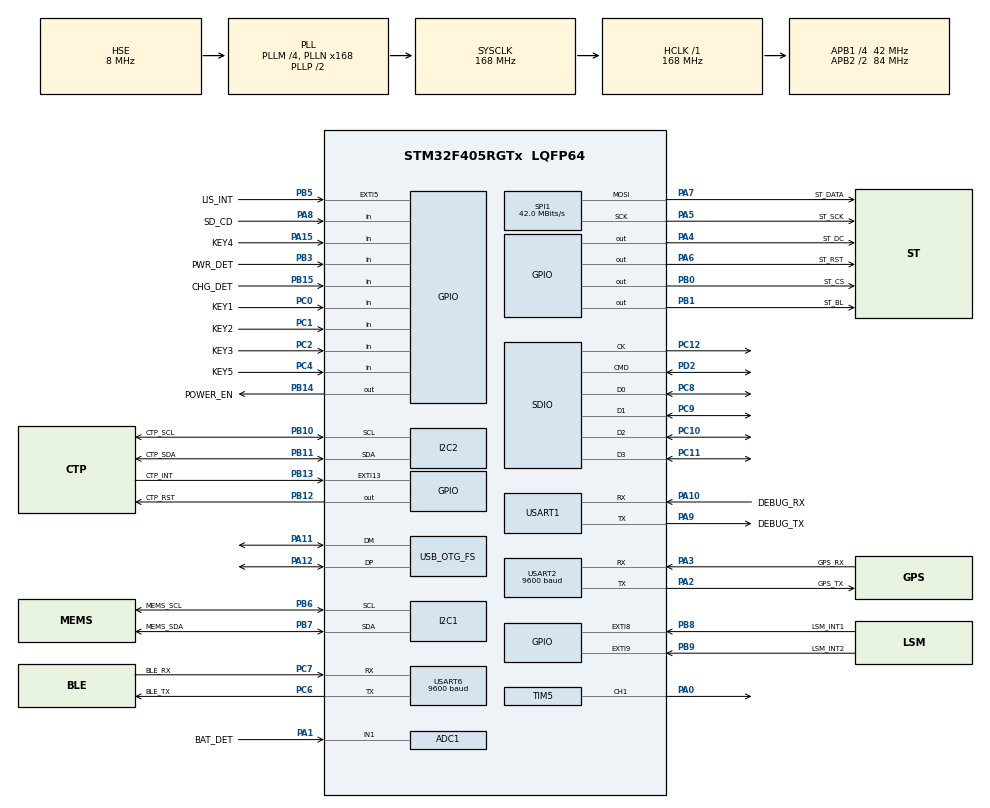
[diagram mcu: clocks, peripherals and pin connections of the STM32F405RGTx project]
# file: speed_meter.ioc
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ADC1.Channel-0\#ChannelRegularConversion=ADC_CHANNEL_1
ADC1.ClockPrescaler=ADC_CLOCK_SYNC_PCLK_DIV4
ADC1.ContinuousConvMode=ENABLE
ADC1.DMAContinuousRequests=DISABLE
ADC1.EnableAnalogWatchDog=true
ADC1.InjNumberOfConversion=0
ADC1.NbrOfConversion=1
ADC1.NbrOfConversionFlag=1
ADC1.Rank-0\#ChannelRegularConversion=1
ADC1.SamplingTime-0\#ChannelRegularConversion=ADC_SAMPLETIME_3CYCLES
ADC1.WatchdogChannel=ADC_CHANNEL_1
ADC1.master=1
Dma.I2C1_RX.0.Direction=DMA_PERIPH_TO_MEMORY
Dma.I2C1_RX.0.FIFOMode=DMA_FIFOMODE_DISABLE
Dma.I2C1_RX.0.Instance=DMA1_Stream0
Dma.I2C1_RX.0.MemDataAlignment=DMA_MDATAALIGN_BYTE
Dma.I2C1_RX.0.MemInc=DMA_MINC_ENABLE
Dma.I2C1_RX.0.Mode=DMA_NORMAL
Dma.I2C1_RX.0.PeriphDataAlignment=DMA_PDATAALIGN_BYTE
Dma.I2C1_RX.0.PeriphInc=DMA_PINC_DISABLE
Dma.I2C1_RX.0.Priority=DMA_PRIORITY_LOW
Dma.I2C2_RX.1.Direction=DMA_PERIPH_TO_MEMORY
Dma.I2C2_RX.1.FIFOMode=DMA_FIFOMODE_DISABLE
Dma.I2C2_RX.1.Instance=DMA1_Stream2
Dma.I2C2_RX.1.MemDataAlignment=DMA_MDATAALIGN_BYTE
Dma.I2C2_RX.1.MemInc=DMA_MINC_ENABLE
Dma.I2C2_RX.1.Mode=DMA_NORMAL
Dma.I2C2_RX.1.PeriphDataAlignment=DMA_PDATAALIGN_BYTE
Dma.I2C2_RX.1.PeriphInc=DMA_PINC_DISABLE
Dma.I2C2_RX.1.Priority=DMA_PRIORITY_LOW
Dma.Request0=I2C1_RX
Dma.Request1=I2C2_RX
Dma.Request2=SPI1_TX
Dma.Request3=USART2_RX
Dma.Request4=USART6_RX
Dma.Request5=USART6_TX
Dma.Request6=SDIO
Dma.Request7=USART1_TX
Dma.SDIO.6.Direction=DMA_PERIPH_TO_MEMORY
Dma.SDIO.6.FIFOMode=DMA_FIFOMODE_ENABLE
Dma.SDIO.6.FIFOThreshold=DMA_FIFO_THRESHOLD_FULL
Dma.SDIO.6.Instance=DMA2_Stream3
Dma.SDIO.6.MemBurst=DMA_MBURST_INC4
Dma.SDIO.6.MemDataAlignment=DMA_MDATAALIGN_WORD
Dma.SDIO.6.MemInc=DMA_MINC_ENABLE
Dma.SDIO.6.Mode=DMA_PFCTRL
Dma.SDIO.6.PeriphBurst=DMA_PBURST_INC4
Dma.SDIO.6.PeriphDataAlignment=DMA_PDATAALIGN_WORD
Dma.SDIO.6.PeriphInc=DMA_PINC_DISABLE
Dma.SDIO.6.Priority=DMA_PRIORITY_LOW
Dma.SPI1_TX.2.Direction=DMA_MEMORY_TO_PERIPH
Dma.SPI1_TX.2.FIFOMode=DMA_FIFOMODE_DISABLE
Dma.SPI1_TX.2.Instance=DMA2_Stream5
Dma.SPI1_TX.2.MemDataAlignment=DMA_MDATAALIGN_HALFWORD
Dma.SPI1_TX.2.MemInc=DMA_MINC_ENABLE
Dma.SPI1_TX.2.Mode=DMA_NORMAL
Dma.SPI1_TX.2.PeriphDataAlignment=DMA_PDATAALIGN_HALFWORD
Dma.SPI1_TX.2.PeriphInc=DMA_PINC_DISABLE
Dma.SPI1_TX.2.Priority=DMA_PRIORITY_LOW
Dma.USART1_TX.7.Direction=DMA_MEMORY_TO_PERIPH
Dma.USART1_TX.7.FIFOMode=DMA_FIFOMODE_DISABLE
Dma.USART1_TX.7.Instance=DMA2_Stream7
Dma.USART1_TX.7.MemDataAlignment=DMA_MDATAALIGN_BYTE
Dma.USART1_TX.7.MemInc=DMA_MINC_ENABLE
Dma.USART1_TX.7.Mode=DMA_NORMAL
Dma.USART1_TX.7.PeriphDataAlignment=DMA_PDATAALIGN_BYTE
Dma.USART1_TX.7.PeriphInc=DMA_PINC_DISABLE
Dma.USART1_TX.7.Priority=DMA_PRIORITY_LOW
Dma.USART2_RX.3.Direction=DMA_PERIPH_TO_MEMORY
Dma.USART2_RX.3.FIFOMode=DMA_FIFOMODE_DISABLE
Dma.USART2_RX.3.Instance=DMA1_Stream5
Dma.USART2_RX.3.MemDataAlignment=DMA_MDATAALIGN_BYTE
Dma.USART2_RX.3.MemInc=DMA_MINC_ENABLE
Dma.USART2_RX.3.Mode=DMA_CIRCULAR
Dma.USART2_RX.3.PeriphDataAlignment=DMA_PDATAALIGN_BYTE
Dma.USART2_RX.3.PeriphInc=DMA_PINC_DISABLE
Dma.USART2_RX.3.Priority=DMA_PRIORITY_LOW
Dma.USART6_RX.4.Direction=DMA_PERIPH_TO_MEMORY
Dma.USART6_RX.4.FIFOMode=DMA_FIFOMODE_DISABLE
Dma.USART6_RX.4.Instance=DMA2_Stream1
Dma.USART6_RX.4.MemDataAlignment=DMA_MDATAALIGN_BYTE
Dma.USART6_RX.4.MemInc=DMA_MINC_ENABLE
Dma.USART6_RX.4.Mode=DMA_NORMAL
Dma.USART6_RX.4.PeriphDataAlignment=DMA_PDATAALIGN_BYTE
Dma.USART6_RX.4.PeriphInc=DMA_PINC_DISABLE
Dma.USART6_RX.4.Priority=DMA_PRIORITY_LOW
Dma.USART6_TX.5.Direction=DMA_MEMORY_TO_PERIPH
Dma.USART6_TX.5.FIFOMode=DMA_FIFOMODE_DISABLE
Dma.USART6_TX.5.Instance=DMA2_Stream6
Dma.USART6_TX.5.MemDataAlignment=DMA_MDATAALIGN_BYTE
Dma.USART6_TX.5.MemInc=DMA_MINC_ENABLE
Dma.USART6_TX.5.Mode=DMA_NORMAL
Dma.USART6_TX.5.PeriphDataAlignment=DMA_PDATAALIGN_BYTE
Dma.USART6_TX.5.PeriphInc=DMA_PINC_DISABLE
Dma.USART6_TX.5.Priority=DMA_PRIORITY_LOW
FATFS.BSP.number=1
FATFS0.BSP.STBoard=false
FATFS0.BSP.api=Unknown
FATFS0.BSP.instance=PA8
FATFS0.BSP.ip=GPIO
FATFS0.BSP.mode=Input
FATFS0.BSP.name=Detect_SDIO
FATFS0.BSP.solution=PA8
FREERTOS.Tasks01=main_task,24,2048,main_task_func,Default,NULL,Dynamic,NULL,NULL;key_task,8,128,key_task_func,As external,NULL,Dynamic,NULL,NULL;pwr_off,8,128,power_task_func,As external,NULL,Dynamic,NULL,NULL;gps_task,8,128,gps_task_func,As external,NULL,Dynamic,NULL,NULL
FREERTOS.configTOTAL_HEAP_SIZE=40960
Mcu.Family=STM32F4
Mcu.Name=STM32F405RGTx
Mcu.Package=LQFP64
NVIC.DMA1_Stream0_IRQn=true\:5\:0\:false\:false\:true\:true\:false\:true\:true
NVIC.DMA1_Stream2_IRQn=true\:5\:0\:false\:false\:true\:true\:false\:true\:true
NVIC.DMA1_Stream5_IRQn=true\:5\:0\:false\:false\:true\:true\:false\:true\:true
NVIC.DMA2_Stream1_IRQn=true\:5\:0\:false\:false\:true\:true\:false\:true\:true
NVIC.DMA2_Stream3_IRQn=true\:5\:0\:false\:false\:true\:true\:false\:true\:true
NVIC.DMA2_Stream5_IRQn=true\:5\:0\:false\:false\:true\:true\:false\:true\:true
NVIC.DMA2_Stream6_IRQn=true\:5\:0\:false\:false\:true\:false\:false\:true\:true
NVIC.DMA2_Stream7_IRQn=true\:5\:0\:false\:false\:true\:true\:false\:true\:true
NVIC.EXTI15_10_IRQn=true\:5\:0\:false\:false\:true\:true\:true\:true\:true
NVIC.I2C1_ER_IRQn=true\:5\:0\:false\:false\:true\:true\:true\:true\:true
NVIC.I2C1_EV_IRQn=true\:5\:0\:false\:false\:true\:true\:true\:true\:true
NVIC.I2C2_ER_IRQn=true\:5\:0\:false\:false\:true\:true\:true\:true\:true
NVIC.I2C2_EV_IRQn=true\:5\:0\:false\:false\:true\:true\:true\:true\:true
NVIC.OTG_FS_IRQn=true\:5\:0\:false\:false\:true\:true\:true\:true\:true
NVIC.PriorityGroup=NVIC_PRIORITYGROUP_4
NVIC.SDIO_IRQn=true\:5\:0\:false\:false\:true\:true\:true\:true\:true
NVIC.SPI1_IRQn=true\:5\:0\:false\:false\:true\:true\:true\:true\:true
NVIC.TIM1_UP_TIM10_IRQn=true\:15\:0\:false\:false\:true\:false\:true\:true\:true
NVIC.TIM2_IRQn=true\:5\:0\:false\:false\:true\:true\:true\:true\:true
NVIC.TimeBase=TIM1_UP_TIM10_IRQn
NVIC.TimeBaseIP=TIM1
NVIC.USART1_IRQn=true\:5\:0\:false\:false\:true\:true\:true\:true\:true
NVIC.USART2_IRQn=true\:5\:0\:true\:false\:true\:true\:true\:true\:true
NVIC.USART6_IRQn=true\:5\:0\:false\:false\:true\:true\:true\:true\:true
PA0-WKUP.Signal=S_TIM5_CH1
PA1.GPIO_Label=BAT_DET
PA1.Signal=ADCx_IN1
PA10.GPIO_Label=DEBUG_RX
PA10.Mode=Asynchronous
PA10.Signal=USART1_RX
PA11.Mode=Device_Only
PA11.Signal=USB_OTG_FS_DM
PA12.Mode=Device_Only
PA12.Signal=USB_OTG_FS_DP
PA13.Mode=Serial_Wire
PA13.Signal=SYS_JTMS-SWDIO
PA14.Mode=Serial_Wire
PA14.Signal=SYS_JTCK-SWCLK
PA15.GPIO_Label=KEY4
PA15.GPIO_PuPd=GPIO_PULLUP
PA15.Signal=GPIO_Input
PA2.GPIO_Label=GPS_TX
PA2.Mode=Asynchronous
PA2.Signal=USART2_TX
PA3.GPIO_Label=GPS_RX
PA3.Mode=Asynchronous
PA3.Signal=USART2_RX
PA4.GPIO_Label=ST_DC
PA4.GPIO_Speed=GPIO_SPEED_FREQ_MEDIUM
PA4.Signal=GPIO_Output
PA5.GPIO_Label=ST_SCK
PA5.Mode=TX_Only_Simplex_Unidirect_Master
PA5.Signal=SPI1_SCK
PA6.GPIO_Label=ST_RST
PA6.GPIO_Speed=GPIO_SPEED_FREQ_MEDIUM
PA6.PinState=GPIO_PIN_SET
PA6.Signal=GPIO_Output
PA7.GPIO_Label=ST_DATA
PA7.Mode=TX_Only_Simplex_Unidirect_Master
PA7.Signal=SPI1_MOSI
PA8.GPIO_Label=SD_CD
PA8.GPIO_PuPd=GPIO_PULLUP
PA8.Signal=GPIO_Input
PA9.GPIO_Label=DEBUG_TX
PA9.Mode=Asynchronous
PA9.Signal=USART1_TX
PB0.GPIO_Label=ST_CS
PB0.GPIO_Speed=GPIO_SPEED_FREQ_MEDIUM
PB0.PinState=GPIO_PIN_SET
PB0.Signal=GPIO_Output
PB1.GPIO_Label=ST_BL
PB1.GPIO_Speed=GPIO_SPEED_FREQ_MEDIUM
PB1.Signal=GPIO_Output
PB10.GPIO_Label=CTP_SCL
PB10.Mode=I2C
PB10.Signal=I2C2_SCL
PB11.GPIO_Label=CTP_SDA
PB11.Mode=I2C
PB11.Signal=I2C2_SDA
PB12.GPIO_Label=CTP_RST
PB12.PinState=GPIO_PIN_SET
PB12.Signal=GPIO_Output
PB13.GPIO_Label=CTP_INT
PB13.GPIO_ModeDefaultEXTI=GPIO_MODE_IT_FALLING
PB13.GPIO_PuPd=GPIO_PULLUP
PB13.Signal=GPXTI13
PB14.GPIO_Label=POWER_EN
PB14.GPIO_Speed=GPIO_SPEED_FREQ_MEDIUM
PB14.PinState=GPIO_PIN_SET
PB14.Signal=GPIO_Output
PB15.GPIO_Label=CHG_DET
PB15.GPIO_PuPd=GPIO_PULLUP
PB15.Signal=GPIO_Input
PB3.GPIO_Label=PWR_DET
PB3.GPIO_PuPd=GPIO_PULLUP
PB3.Signal=GPIO_Input
PB5.GPIO_Label=LIS_INT
PB5.Signal=GPXTI5
PB6.GPIO_Label=MEMS_SCL
PB6.Mode=I2C
PB6.Signal=I2C1_SCL
PB7.GPIO_Label=MEMS_SDA
PB7.Mode=I2C
PB7.Signal=I2C1_SDA
PB8.GPIO_Label=LSM_INT1
PB8.Signal=GPXTI8
PB9.GPIO_Label=LSM_INT2
PB9.Signal=GPXTI9
PC0.GPIO_Label=KEY1
PC0.GPIO_PuPd=GPIO_PULLUP
PC0.Signal=GPIO_Input
PC1.GPIO_Label=KEY2
PC1.GPIO_PuPd=GPIO_PULLUP
PC1.Signal=GPIO_Input
PC10.Mode=SD_4_bits_Wide_bus
PC10.Signal=SDIO_D2
PC11.Mode=SD_4_bits_Wide_bus
PC11.Signal=SDIO_D3
PC12.Mode=SD_4_bits_Wide_bus
PC12.Signal=SDIO_CK
PC14-OSC32_IN.Mode=LSE-External-Oscillator
PC14-OSC32_IN.Signal=RCC_OSC32_IN
PC15-OSC32_OUT.Mode=LSE-External-Oscillator
PC15-OSC32_OUT.Signal=RCC_OSC32_OUT
PC2.GPIO_Label=KEY3
PC2.GPIO_PuPd=GPIO_PULLUP
PC2.Signal=GPIO_Input
PC4.GPIO_Label=KEY5
PC4.GPIO_PuPd=GPIO_PULLUP
PC4.Signal=GPIO_Input
PC6.GPIO_Label=BLE_TX
PC6.Mode=Asynchronous
PC6.Signal=USART6_TX
PC7.GPIO_Label=BLE_RX
PC7.Mode=Asynchronous
PC7.Signal=USART6_RX
PC8.Mode=SD_4_bits_Wide_bus
PC8.Signal=SDIO_D0
PC9.Mode=SD_4_bits_Wide_bus
PC9.Signal=SDIO_D1
PD2.Mode=SD_4_bits_Wide_bus
PD2.Signal=SDIO_CMD
PH0-OSC_IN.Mode=HSE-External-Oscillator
PH0-OSC_IN.Signal=RCC_OSC_IN
PH1-OSC_OUT.Mode=HSE-External-Oscillator
PH1-OSC_OUT.Signal=RCC_OSC_OUT
ProjectManager.HeapSize=0x4000
ProjectManager.StackSize=0x2000
ProjectManager.TargetToolchain=MDK-ARM V5.32
RCC.48MHZClocksFreq_Value=48000000
RCC.AHBFreq_Value=168000000
RCC.APB1CLKDivider=RCC_HCLK_DIV4
RCC.APB1Freq_Value=42000000
RCC.APB1TimFreq_Value=84000000
RCC.APB2CLKDivider=RCC_HCLK_DIV2
RCC.APB2Freq_Value=84000000
RCC.APB2TimFreq_Value=168000000
RCC.CortexFreq_Value=168000000
RCC.HCLKFreq_Value=168000000
RCC.HSE_VALUE=8000000
RCC.HSI_VALUE=16000000
RCC.PLLM=4
RCC.PLLN=168
RCC.PLLQ=7
RCC.RCC_RTC_Clock_Source=RCC_RTCCLKSOURCE_LSE
RCC.RCC_RTC_Clock_SourceVirtual=RCC_RTCCLKSOURCE_LSE
RCC.SYSCLKFreq_VALUE=168000000
RCC.SYSCLKSource=RCC_SYSCLKSOURCE_PLLCLK
RCC.VCOOutputFreq_Value=336000000
SDIO.ClockDiv=6
SH.ADCx_IN1.0=ADC1_IN1,IN1
SH.S_TIM5_CH1.0=TIM5_CH1,PWM Generation1 CH1
SPI1.BaudRatePrescaler=SPI_BAUDRATEPRESCALER_2
SPI1.CalculateBaudRate=42.0 MBits/s
SPI1.Direction=SPI_DIRECTION_2LINES
SPI1.Mode=SPI_MODE_MASTER
SPI1.VirtualType=VM_MASTER
TIM2.AutoReloadPreload=TIM_AUTORELOAD_PRELOAD_DISABLE
TIM2.Period=500
TIM2.Prescaler=42000 -1
TIM5.AutoReloadPreload=TIM_AUTORELOAD_PRELOAD_ENABLE
TIM5.Channel-PWM\ Generation1\ CH1=TIM_CHANNEL_1
TIM5.Period=500
TIM5.Prescaler=84-1
USART1.VirtualMode=VM_ASYNC
USART2.BaudRate=9600
USART2.VirtualMode=VM_ASYNC
USART6.BaudRate=9600
USART6.VirtualMode=VM_ASYNC
USB_DEVICE.CLASS_NAME_FS=MSC
USB_DEVICE.MANUFACTURER_STRING-MSC_FS=Atguigu
USB_DEVICE.PRODUCT_STRING_MSC_FS=Speed Meter Mass Storage
USB_DEVICE.VirtualMode-MSC_FS=Msc
USB_DEVICE.VirtualModeFS=Msc_FS
USB_OTG_FS.VirtualMode=Device_Only
VP_FATFS_VS_SDIO.Mode=SDIO
VP_FREERTOS_VS_CMSIS_V2.Mode=CMSIS_V2
VP_SYS_VS_tim1.Mode=TIM1
VP_TIM2_VS_ClockSourceINT.Mode=Internal
VP_TIM5_VS_ClockSourceINT.Mode=Internal
VP_USB_DEVICE_VS_USB_DEVICE_MSC_FS.Mode=MSC_FS
board=custom

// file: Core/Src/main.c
/* USER CODE BEGIN Header */
/**
  ******************************************************************************
  * @file           : main.c
  * @brief          : Main program body
  ******************************************************************************
  * @attention
  *
  * Copyright (c) 2026 STMicroelectronics.
  * All rights reserved.
  *
  * This software is licensed under terms that can be found in the LICENSE file
  * in the root directory of this software component.
  * If no LICENSE file comes with this software, it is provided AS-IS.
  *
  ******************************************************************************
  */
/* USER CODE END Header */
#include "main.h"
#include "cmsis_os.h"
#include "adc.h"
#include "dma.h"
#include "fatfs.h"
#include "i2c.h"
#include "sdio.h"
#include "spi.h"
#include "tim.h"
#include "usart.h"
#include "usb_device.h"
#include "gpio.h"

void SystemClock_Config(void);
void MX_FREERTOS_Init(void);

int main(void)
{

  /* MCU Configuration--------------------------------------------------------*/

  /* Reset of all peripherals, Initializes the Flash interface and the Systick. */
  HAL_Init();

  /* Configure the system clock */
  SystemClock_Config();

  /* Initialize all configured peripherals */
  MX_GPIO_Init();
  MX_DMA_Init();
  MX_USART1_UART_Init();
  MX_ADC1_Init();
  MX_I2C1_Init();
  MX_SPI1_Init();
  MX_USART2_UART_Init();
  MX_I2C2_Init();
  MX_SDIO_SD_Init();
  MX_USART6_UART_Init();
  MX_FATFS_Init();
  MX_TIM2_Init();
  MX_TIM5_Init();

  /* Init scheduler */
  osKernelInitialize();  /* Call init function for freertos objects (in cmsis_os2.c) */
  MX_FREERTOS_Init();

  /* Start scheduler */
  osKernelStart();

  /* We should never get here as control is now taken by the scheduler */

  /* Infinite loop */
  while (1)
  {

  }
}

void SystemClock_Config(void)
{
  RCC_OscInitTypeDef RCC_OscInitStruct = {0};
  RCC_ClkInitTypeDef RCC_ClkInitStruct = {0};

  /** Configure the main internal regulator output voltage
  */
  __HAL_RCC_PWR_CLK_ENABLE();
  __HAL_PWR_VOLTAGESCALING_CONFIG(PWR_REGULATOR_VOLTAGE_SCALE1);

  /** Initializes the RCC Oscillators according to the specified parameters
  * in the RCC_OscInitTypeDef structure.
  */
  RCC_OscInitStruct.OscillatorType = RCC_OSCILLATORTYPE_HSE;
  RCC_OscInitStruct.HSEState = RCC_HSE_ON;
  RCC_OscInitStruct.PLL.PLLState = RCC_PLL_ON;
  RCC_OscInitStruct.PLL.PLLSource = RCC_PLLSOURCE_HSE;
  RCC_OscInitStruct.PLL.PLLM = 4;
  RCC_OscInitStruct.PLL.PLLN = 168;
  RCC_OscInitStruct.PLL.PLLP = RCC_PLLP_DIV2;
  RCC_OscInitStruct.PLL.PLLQ = 7;
  if (HAL_RCC_OscConfig(&RCC_OscInitStruct) != HAL_OK)
  {
    Error_Handler();
  }

  /** Initializes the CPU, AHB and APB buses clocks
  */
  RCC_ClkInitStruct.ClockType = RCC_CLOCKTYPE_HCLK|RCC_CLOCKTYPE_SYSCLK
                              |RCC_CLOCKTYPE_PCLK1|RCC_CLOCKTYPE_PCLK2;
  RCC_ClkInitStruct.SYSCLKSource = RCC_SYSCLKSOURCE_PLLCLK;
  RCC_ClkInitStruct.AHBCLKDivider = RCC_SYSCLK_DIV1;
  RCC_ClkInitStruct.APB1CLKDivider = RCC_HCLK_DIV4;
  RCC_ClkInitStruct.APB2CLKDivider = RCC_HCLK_DIV2;

  if (HAL_RCC_ClockConfig(&RCC_ClkInitStruct, FLASH_LATENCY_5) != HAL_OK)
  {
    Error_Handler();
  }
}

void HAL_TIM_PeriodElapsedCallback(TIM_HandleTypeDef *htim)
{
  if (htim->Instance == TIM1)
  {
    HAL_IncTick();
  }
}

void Error_Handler(void)
{
  __disable_irq();
  while (1)
  {
  }
}

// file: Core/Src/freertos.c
/* USER CODE BEGIN Header */
/**
 ******************************************************************************
 * File Name          : freertos.c
 * Description        : Code for freertos applications
 ******************************************************************************
 * @attention
 *
 * Copyright (c) 2026 STMicroelectronics.
 * All rights reserved.
 *
 * This software is licensed under terms that can be found in the LICENSE file
 * in the root directory of this software component.
 * If no LICENSE file comes with this software, it is provided AS-IS.
 *
 ******************************************************************************
 */
/* USER CODE END Header */

#include "FreeRTOS.h"
#include "task.h"
#include "main.h"
#include "cmsis_os.h"

/* USER CODE BEGIN Includes */
#include "lvgl.h"
#include "lv_port_indev.h"
#include "lv_port_lcd_stm32.h"
#include "demos/lv_demos.h"
#include "ui.h"
#include "fatfs.h"
/* USER CODE END Includes */

/* Definitions for main_task */
osThreadId_t main_taskHandle;
const osThreadAttr_t main_task_attributes = {
  .name = "main_task",
  .stack_size = 2048 * 4,
  .priority = (osPriority_t) osPriorityNormal,
};
/* Definitions for key_task */
osThreadId_t key_taskHandle;
const osThreadAttr_t key_task_attributes = {
  .name = "key_task",
  .stack_size = 128 * 4,
  .priority = (osPriority_t) osPriorityLow,
};
/* Definitions for pwr_off */
osThreadId_t pwr_offHandle;
const osThreadAttr_t pwr_off_attributes = {
  .name = "pwr_off",
  .stack_size = 128 * 4,
  .priority = (osPriority_t) osPriorityLow,
};
/* Definitions for gps_task */
osThreadId_t gps_taskHandle;
const osThreadAttr_t gps_task_attributes = {
  .name = "gps_task",
  .stack_size = 128 * 4,
  .priority = (osPriority_t) osPriorityLow,
};

void main_task_func(void *argument);
extern void key_task_func(void *argument);
extern void power_task_func(void *argument);
extern void gps_task_func(void *argument);

extern void MX_USB_DEVICE_Init(void);
void MX_FREERTOS_Init(void); /* (MISRA C 2004 rule 8.1) */

void MX_FREERTOS_Init(void) {

  /* Create the thread(s) */
  /* creation of main_task */
  main_taskHandle = osThreadNew(main_task_func, NULL, &main_task_attributes);

  /* creation of key_task */
  key_taskHandle = osThreadNew(key_task_func, NULL, &key_task_attributes);

  /* creation of pwr_off */
  pwr_offHandle = osThreadNew(power_task_func, NULL, &pwr_off_attributes);

  /* creation of gps_task */
  gps_taskHandle = osThreadNew(gps_task_func, NULL, &gps_task_attributes);

}

void main_task_func(void *argument)
{
  /* init code for USB_DEVICE */
  MX_USB_DEVICE_Init();
  /* USER CODE BEGIN main_task_func */
  // 初始化LVGL
  lv_init();

  // 设置时钟回调
  lv_tick_set_cb(xTaskGetTickCount);
  lv_delay_set_cb(vTaskDelay);

  // 初始化显示设备
  lv_port_disp_init();

  // 初始化触摸屏
  lv_port_indev_init();

  // 创建UI 使用DEMO
  // lv_demo_benchmark();
  // lv_demo_widgets();
  //! 挂载SD卡
  f_mount(&SDFatFS, SDPath, 1);
  ui_init();

  /* Infinite loop */
  for (;;)
  {
    uint32_t tick = lv_timer_handler();
    osDelay(pdMS_TO_TICKS(tick));
  }
  /* USER CODE END main_task_func */
}
